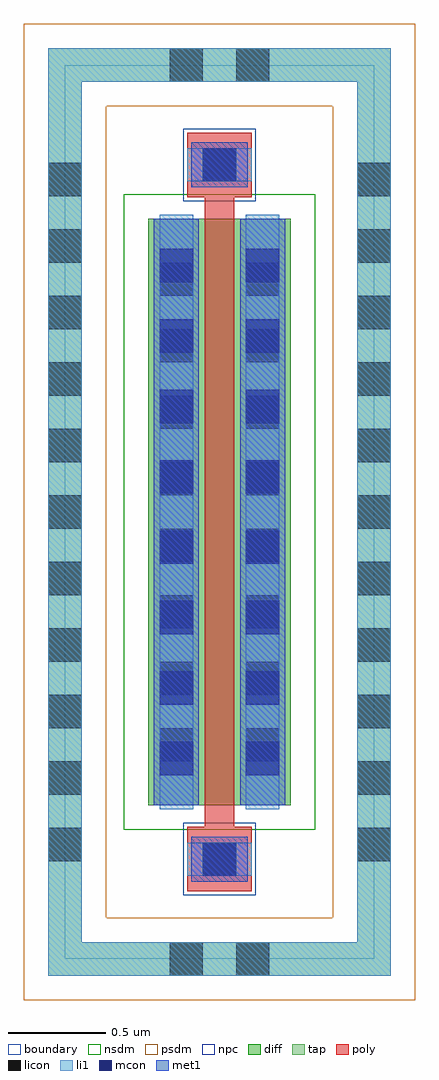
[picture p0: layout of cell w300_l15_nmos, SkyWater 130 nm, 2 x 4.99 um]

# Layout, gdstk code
import gdstk
lib = gdstk.Library(unit=1e-6, precision=1e-09)
def R(c, l, rs):  # rectangles x0, y0, x1, y1
    for r in rs: c.add(gdstk.rectangle(r[:2], r[2:], *l))
def A(c, l, x, y, w, h, nx, ny, dx, dy):  # array of equal rectangles
    R(c, l, [(x+i*dx, y+j*dy, x+i*dx+w, y+j*dy+h) for i in range(nx) for j in range(ny)])
diff = (65, 20)
tap = (65, 44)
poly = (66, 20)
licon = (66, 44)
li1 = (67, 20)
mcon = (67, 44)
met1 = (68, 20)
nsdm = (93, 44)
psdm = (94, 20)
npc = (95, 20)
boundary = (235, 4)

sky130_fd_pr__nfet_01v8 = lib.new_cell('sky130_fd_pr__nfet_01v8')

w300_l15_nmos = lib.new_cell('w300_l15_nmos')
R(w300_l15_nmos, diff, [(-0.365,-1.5,0.365,1.5)])
R(w300_l15_nmos, tap, [(-0.875,-2.37,0.875,-2.2), (-0.875,-2.2,-0.705,2.2), (0.705,-2.2,0.875,2.2), (-0.875,2.2,0.875,2.37)])
R(w300_l15_nmos, poly, [(-0.165,-1.94,0.165,-1.61), (-0.075,-1.61,0.075,1.61), (-0.165,1.61,0.165,1.94)])
A(w300_l15_nmos, licon, -0.875, -1.785, 0.17, 0.17, 1, 11, 0, 0.34)
A(w300_l15_nmos, licon, 0.705, -1.785, 0.17, 0.17, 1, 11, 0, 0.34)
A(w300_l15_nmos, licon, -0.305, -1.275, 0.17, 0.17, 1, 8, 0, 0.34)
A(w300_l15_nmos, licon, 0.135, -1.275, 0.17, 0.17, 1, 8, 0, 0.34)
R(w300_l15_nmos, licon, [(-0.255,-2.37,-0.085,-2.2), (0.085,-2.37,0.255,-2.2), (-0.085,-1.86,0.085,-1.69), (-0.085,1.69,0.085,1.86), (-0.255,2.2,-0.085,2.37), (0.085,2.2,0.255,2.37)])
R(w300_l15_nmos, li1, [(-0.875,-2.37,0.875,-2.2), (-0.875,-2.2,-0.705,2.2), (0.705,-2.2,0.875,2.2), (-0.165,-1.86,0.165,-1.69), (-0.305,-1.52,-0.135,1.52), (0.135,-1.52,0.305,1.52), (-0.165,1.69,0.165,1.86), (-0.875,2.2,0.875,2.37)])
A(w300_l15_nmos, mcon, -0.305, -1.345, 0.17, 0.17, 1, 8, 0, 0.36)
A(w300_l15_nmos, mcon, 0.135, -1.345, 0.17, 0.17, 1, 8, 0, 0.36)
R(w300_l15_nmos, mcon, [(-0.085,-1.86,0.085,-1.69), (-0.085,1.69,0.085,1.86)])
R(w300_l15_nmos, met1, [(-0.145,-1.89,0.145,-1.66), (-0.335,-1.5,-0.105,1.5), (0.105,-1.5,0.335,1.5), (-0.145,1.66,0.145,1.89)])
R(w300_l15_nmos, nsdm, [(-0.49,-1.625,0.49,1.625)])
R(w300_l15_nmos, psdm, [(-1,-2.495,1,-2.075), (-1,-2.075,-0.58,2.075), (0.58,-2.075,1,2.075), (-1,2.075,1,2.495)])
R(w300_l15_nmos, npc, [(-0.185,-1.96,0.185,-1.59), (-0.185,1.59,0.185,1.96)])
R(w300_l15_nmos, boundary, [(-0.79,-2.285,0.79,2.285)])
w300_l15_nmos.add(gdstk.Reference(sky130_fd_pr__nfet_01v8, (0,0)))

lib.write_gds('w300_l15_nmos.gds')
